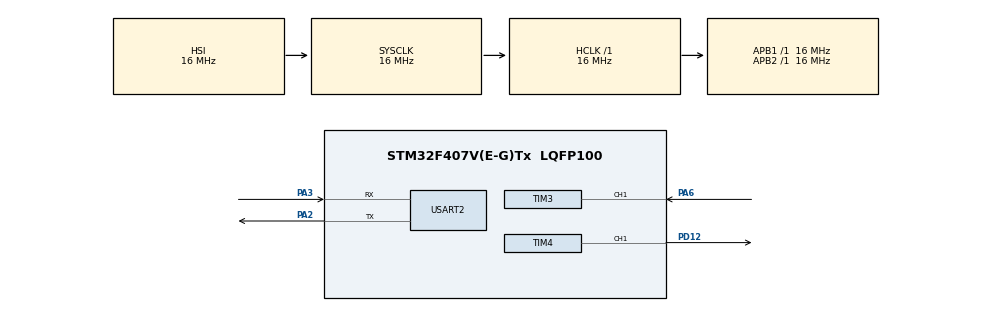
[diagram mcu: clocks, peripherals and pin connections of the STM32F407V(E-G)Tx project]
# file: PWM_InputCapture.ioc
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Mcu.Family=STM32F4
Mcu.Name=STM32F407V(E-G)Tx
Mcu.Package=LQFP100
NVIC.PriorityGroup=NVIC_PRIORITYGROUP_4
NVIC.TIM3_IRQn=true\:0\:0\:false\:false\:true\:true\:true\:true
PA2.Mode=Asynchronous
PA2.Signal=USART2_TX
PA3.Mode=Asynchronous
PA3.Signal=USART2_RX
PA6.Signal=S_TIM3_CH1
PD12.Signal=S_TIM4_CH1
ProjectManager.HeapSize=0x200
ProjectManager.StackSize=0x400
ProjectManager.TargetToolchain=STM32CubeIDE
RCC.AHBFreq_Value=16000000
RCC.APB1Freq_Value=16000000
RCC.APB2Freq_Value=16000000
RCC.CortexFreq_Value=16000000
RCC.HSE_VALUE=25000000
RCC.HSI_VALUE=16000000
RCC.LSE_VALUE=32768
RCC.SYSCLKFreq_VALUE=16000000
RCC.VCOOutputFreq_Value=192000000
SH.S_TIM3_CH1.0=TIM3_CH1,Input_Capture1_from_TI1
SH.S_TIM4_CH1.0=TIM4_CH1,PWM Generation1 CH1
TIM3.Channel-Input_Capture1_from_TI1=TIM_CHANNEL_1
TIM3.Prescaler=15
TIM4.Channel-PWM\ Generation1\ CH1=TIM_CHANNEL_1
TIM4.Period=999
TIM4.Prescaler=15
TIM4.Pulse-PWM\ Generation1\ CH1=300
USART2.VirtualMode=VM_ASYNC
VP_TIM3_VS_ClockSourceINT.Mode=Internal
VP_TIM4_VS_ClockSourceINT.Mode=Internal
board=custom

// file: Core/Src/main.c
/* USER CODE BEGIN Header */
/**
  ******************************************************************************
  * @file           : main.c
  * @brief          : Main program body
  ******************************************************************************
  * @attention
  *
  * Copyright (c) 2026 STMicroelectronics.
  * All rights reserved.
  *
  * This software is licensed under terms that can be found in the LICENSE file
  * in the root directory of this software component.
  * If no LICENSE file comes with this software, it is provided AS-IS.
  *
  ******************************************************************************
  */
/* USER CODE END Header */
#include "main.h"

/* USER CODE BEGIN Includes */
#include <stdio.h>
/* USER CODE END Includes */

TIM_HandleTypeDef htim3;
TIM_HandleTypeDef htim4;

UART_HandleTypeDef huart2;

/* USER CODE BEGIN PV */
uint32_t rising_edge;
uint32_t falling_edge;
uint32_t period;
uint32_t pulse_width;
uint8_t edge_state;
/* USER CODE END PV */

void SystemClock_Config(void);
static void MX_GPIO_Init(void);
static void MX_TIM3_Init(void);
static void MX_TIM4_Init(void);
static void MX_USART2_UART_Init(void);

int main(void)
{

  /* MCU Configuration--------------------------------------------------------*/

  /* Reset of all peripherals, Initializes the Flash interface and the Systick. */
  HAL_Init();

  /* Configure the system clock */
  SystemClock_Config();

  /* Initialize all configured peripherals */
  MX_GPIO_Init();
  MX_TIM3_Init();
  MX_TIM4_Init();
  MX_USART2_UART_Init();
  /* USER CODE BEGIN 2 */
  HAL_TIM_PWM_Start(&htim4, TIM_CHANNEL_1);
  HAL_TIM_IC_Start_IT(&htim3, TIM_CHANNEL_1);
  printf("PWM + Input Capture started \r\n");
  /* USER CODE END 2 */

  /* Infinite loop */
  while (1)
  {

  }
}

void SystemClock_Config(void)
{
  RCC_OscInitTypeDef RCC_OscInitStruct = {0};
  RCC_ClkInitTypeDef RCC_ClkInitStruct = {0};

  /** Configure the main internal regulator output voltage
  */
  __HAL_RCC_PWR_CLK_ENABLE();
  __HAL_PWR_VOLTAGESCALING_CONFIG(PWR_REGULATOR_VOLTAGE_SCALE1);

  /** Initializes the RCC Oscillators according to the specified parameters
  * in the RCC_OscInitTypeDef structure.
  */
  RCC_OscInitStruct.OscillatorType = RCC_OSCILLATORTYPE_HSI;
  RCC_OscInitStruct.HSIState = RCC_HSI_ON;
  RCC_OscInitStruct.HSICalibrationValue = RCC_HSICALIBRATION_DEFAULT;
  RCC_OscInitStruct.PLL.PLLState = RCC_PLL_NONE;
  if (HAL_RCC_OscConfig(&RCC_OscInitStruct) != HAL_OK)
  {
    Error_Handler();
  }

  /** Initializes the CPU, AHB and APB buses clocks
  */
  RCC_ClkInitStruct.ClockType = RCC_CLOCKTYPE_HCLK|RCC_CLOCKTYPE_SYSCLK
                              |RCC_CLOCKTYPE_PCLK1|RCC_CLOCKTYPE_PCLK2;
  RCC_ClkInitStruct.SYSCLKSource = RCC_SYSCLKSOURCE_HSI;
  RCC_ClkInitStruct.AHBCLKDivider = RCC_SYSCLK_DIV1;
  RCC_ClkInitStruct.APB1CLKDivider = RCC_HCLK_DIV1;
  RCC_ClkInitStruct.APB2CLKDivider = RCC_HCLK_DIV1;

  if (HAL_RCC_ClockConfig(&RCC_ClkInitStruct, FLASH_LATENCY_0) != HAL_OK)
  {
    Error_Handler();
  }
}

static void MX_TIM3_Init(void)
{

  TIM_ClockConfigTypeDef sClockSourceConfig = {0};
  TIM_MasterConfigTypeDef sMasterConfig = {0};
  TIM_IC_InitTypeDef sConfigIC = {0};

  htim3.Instance = TIM3;
  htim3.Init.Prescaler = 15;
  htim3.Init.CounterMode = TIM_COUNTERMODE_UP;
  htim3.Init.Period = 65535;
  htim3.Init.ClockDivision = TIM_CLOCKDIVISION_DIV1;
  htim3.Init.AutoReloadPreload = TIM_AUTORELOAD_PRELOAD_DISABLE;
  if (HAL_TIM_Base_Init(&htim3) != HAL_OK)
  {
    Error_Handler();
  }
  sClockSourceConfig.ClockSource = TIM_CLOCKSOURCE_INTERNAL;
  if (HAL_TIM_ConfigClockSource(&htim3, &sClockSourceConfig) != HAL_OK)
  {
    Error_Handler();
  }
  if (HAL_TIM_IC_Init(&htim3) != HAL_OK)
  {
    Error_Handler();
  }
  sMasterConfig.MasterOutputTrigger = TIM_TRGO_RESET;
  sMasterConfig.MasterSlaveMode = TIM_MASTERSLAVEMODE_DISABLE;
  if (HAL_TIMEx_MasterConfigSynchronization(&htim3, &sMasterConfig) != HAL_OK)
  {
    Error_Handler();
  }
  sConfigIC.ICPolarity = TIM_INPUTCHANNELPOLARITY_RISING;
  sConfigIC.ICSelection = TIM_ICSELECTION_DIRECTTI;
  sConfigIC.ICPrescaler = TIM_ICPSC_DIV1;
  sConfigIC.ICFilter = 0;
  if (HAL_TIM_IC_ConfigChannel(&htim3, &sConfigIC, TIM_CHANNEL_1) != HAL_OK)
  {
    Error_Handler();
  }

}

static void MX_TIM4_Init(void)
{

  TIM_ClockConfigTypeDef sClockSourceConfig = {0};
  TIM_MasterConfigTypeDef sMasterConfig = {0};
  TIM_OC_InitTypeDef sConfigOC = {0};

  htim4.Instance = TIM4;
  htim4.Init.Prescaler = 15;
  htim4.Init.CounterMode = TIM_COUNTERMODE_UP;
  htim4.Init.Period = 999;
  htim4.Init.ClockDivision = TIM_CLOCKDIVISION_DIV1;
  htim4.Init.AutoReloadPreload = TIM_AUTORELOAD_PRELOAD_DISABLE;
  if (HAL_TIM_Base_Init(&htim4) != HAL_OK)
  {
    Error_Handler();
  }
  sClockSourceConfig.ClockSource = TIM_CLOCKSOURCE_INTERNAL;
  if (HAL_TIM_ConfigClockSource(&htim4, &sClockSourceConfig) != HAL_OK)
  {
    Error_Handler();
  }
  if (HAL_TIM_PWM_Init(&htim4) != HAL_OK)
  {
    Error_Handler();
  }
  sMasterConfig.MasterOutputTrigger = TIM_TRGO_RESET;
  sMasterConfig.MasterSlaveMode = TIM_MASTERSLAVEMODE_DISABLE;
  if (HAL_TIMEx_MasterConfigSynchronization(&htim4, &sMasterConfig) != HAL_OK)
  {
    Error_Handler();
  }
  sConfigOC.OCMode = TIM_OCMODE_PWM1;
  sConfigOC.Pulse = 300;
  sConfigOC.OCPolarity = TIM_OCPOLARITY_HIGH;
  sConfigOC.OCFastMode = TIM_OCFAST_DISABLE;
  if (HAL_TIM_PWM_ConfigChannel(&htim4, &sConfigOC, TIM_CHANNEL_1) != HAL_OK)
  {
    Error_Handler();
  }
  HAL_TIM_MspPostInit(&htim4);

}

static void MX_USART2_UART_Init(void)
{

  huart2.Instance = USART2;
  huart2.Init.BaudRate = 115200;
  huart2.Init.WordLength = UART_WORDLENGTH_8B;
  huart2.Init.StopBits = UART_STOPBITS_1;
  huart2.Init.Parity = UART_PARITY_NONE;
  huart2.Init.Mode = UART_MODE_TX_RX;
  huart2.Init.HwFlowCtl = UART_HWCONTROL_NONE;
  huart2.Init.OverSampling = UART_OVERSAMPLING_16;
  if (HAL_UART_Init(&huart2) != HAL_OK)
  {
    Error_Handler();
  }

}

static void MX_GPIO_Init(void)
{

  /* GPIO Ports Clock Enable */
  __HAL_RCC_GPIOA_CLK_ENABLE();
  __HAL_RCC_GPIOD_CLK_ENABLE();

}

/* USER CODE BEGIN 4 */
void HAL_TIM_IC_CaptureCallback(TIM_HandleTypeDef *htim)
{
	if (htim->Instance == TIM3)
	{
		if (edge_state == 0)
		{
		    rising_edge = HAL_TIM_ReadCapturedValue(htim, TIM_CHANNEL_1);
		    __HAL_TIM_SET_CAPTUREPOLARITY(htim, TIM_CHANNEL_1, TIM_INPUTCHANNELPOLARITY_FALLING);
		    __HAL_TIM_CLEAR_FLAG(htim, TIM_FLAG_CC1);
		    edge_state = 1;
		}
		else if (edge_state == 1)
		{
		    falling_edge = HAL_TIM_ReadCapturedValue(htim, TIM_CHANNEL_1);

		    if (falling_edge > rising_edge)
		    {
		        pulse_width = falling_edge - rising_edge;
		        printf("Pulse: %lu | Duty: %lu%%\r\n",
		                pulse_width, (pulse_width * 100) / 1000);
		    }

		    __HAL_TIM_SET_CAPTUREPOLARITY(htim, TIM_CHANNEL_1, TIM_INPUTCHANNELPOLARITY_RISING);
		    __HAL_TIM_CLEAR_FLAG(htim, TIM_FLAG_CC1);
		    edge_state = 0;
		}

	}
}

int _write(int file, char *ptr, int len)
{
    HAL_UART_Transmit(&huart2, (uint8_t*)ptr, len, HAL_MAX_DELAY);
    return len;
}

/* USER CODE END 4 */

void Error_Handler(void)
{
  __disable_irq();
  while (1)
  {
  }
}
